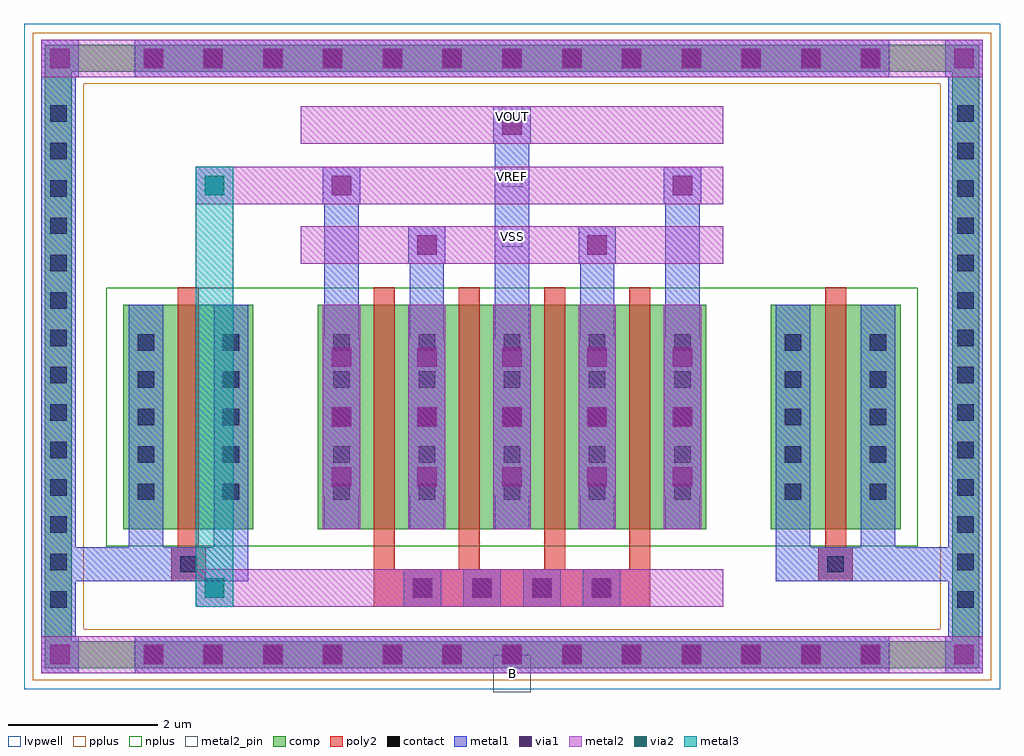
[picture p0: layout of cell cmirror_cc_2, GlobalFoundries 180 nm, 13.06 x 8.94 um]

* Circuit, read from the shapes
.subckt cmirror_cc_2 B VOUT VREF VSS
XM1 B B B B nfet_03v3 w=3u l=0.28u m=2
XM2 VSS VREF VREF B nfet_03v3 w=3u l=0.28u m=2
XM3 VOUT VREF VSS B nfet_03v3 w=3u l=0.28u m=2
.ends

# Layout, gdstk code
import gdstk
lib = gdstk.Library(unit=1e-6, precision=5e-09)
def R(c, l, rs):  # rectangles x0, y0, x1, y1
    for r in rs: c.add(gdstk.rectangle(r[:2], r[2:], *l))
def A(c, l, x, y, w, h, nx, ny, dx, dy):  # array of equal rectangles
    R(c, l, [(x+i*dx, y+j*dy, x+i*dx+w, y+j*dy+h) for i in range(nx) for j in range(ny)])
def P(c, l, *ps):  # polygons
    for p in ps: c.add(gdstk.Polygon(p, *l))
comp = (22, 0)
poly2 = (30, 0)
pplus = (31, 0)
nplus = (32, 0)
contact = (33, 0)
metal1 = (34, 0)
via1 = (35, 0)
metal2 = (36, 0)
metal2_pin = (36, 10)
via2 = (38, 0)
metal3 = (42, 0)
lvpwell = (204, 0)

cmirror_cc_2 = lib.new_cell('cmirror_cc_2')
A(cmirror_cc_2, comp, -4.98, -4.17, 0.36, 0.36, 13, 2, 0.8, 7.98)
A(cmirror_cc_2, comp, -6.25, -3.43, 0.36, 0.36, 1, 14, 0, 0.5)
A(cmirror_cc_2, comp, 5.89, -3.43, 0.36, 0.36, 1, 14, 0, 0.5)
R(cmirror_cc_2, comp, [(-4.98,-4.17,4.98,-3.81), (-6.25,-3.43,-5.89,3.43), (5.89,-3.43,6.25,3.43), (-5.2,-2.31,-3.46,0.69), (-2.6,-2.31,2.6,0.69), (3.46,-2.31,5.2,0.69), (-4.98,3.81,4.98,4.17)])
P(cmirror_cc_2, comp, [(6.25,4.17),(-6.25,4.17),(-6.25,-3.81),(-5.89,-3.81),(-5.89,3.81),(5.89,3.81),(5.89,-3.81),(-5.89,-3.81),(-6.25,-3.81),(-6.25,-4.17),(6.25,-4.17)])
A(cmirror_cc_2, poly2, -1.38, -3.28, 0.36, 0.36, 4, 1, 0.8, 0)
A(cmirror_cc_2, poly2, -1.85, -2.85, 0.28, 0.3, 4, 1, 1.14, 0)
A(cmirror_cc_2, poly2, -1.85, -2.55, 0.28, 3.48, 4, 1, 1.14, 0)
R(cmirror_cc_2, poly2, [(-1.85,-3.35,1.85,-2.85), (-4.56,-3.01,-4.1,-2.55), (4.1,-3.01,4.56,-2.55), (-4.51,-2.96,-4.15,-2.6), (4.15,-2.96,4.51,-2.6), (-4.47,-2.55,-4.19,0.93), (4.19,-2.55,4.47,0.93)])
P(cmirror_cc_2, pplus, [(6.41,4.33),(-6.41,4.33),(-6.41,-3.65),(-5.73,-3.65),(-5.73,3.65),(5.73,3.65),(5.73,-3.65),(-5.73,-3.65),(-6.41,-3.65),(-6.41,-4.33),(6.41,-4.33)])
R(cmirror_cc_2, nplus, [(-5.43,-2.54,-3.23,0.92), (-5.43,-2.54,5.43,0.92), (-2.83,-2.54,2.83,0.92), (3.23,-2.54,5.43,0.92)])
A(cmirror_cc_2, contact, -4.91, -4.1, 0.22, 0.22, 13, 2, 0.8, 7.98)
A(cmirror_cc_2, contact, -6.18, -3.36, 0.22, 0.22, 1, 14, 0, 0.5)
A(cmirror_cc_2, contact, 5.96, -3.36, 0.22, 0.22, 1, 14, 0, 0.5)
A(cmirror_cc_2, contact, -1.31, -3.21, 0.22, 0.22, 4, 1, 0.8, 0)
A(cmirror_cc_2, contact, -5.01, -1.92, 0.22, 0.22, 1, 5, 0, 0.5)
A(cmirror_cc_2, contact, -3.87, -1.92, 0.22, 0.22, 1, 5, 0, 0.5)
A(cmirror_cc_2, contact, -2.39, -1.92, 0.22, 0.22, 5, 5, 1.14, 0.5)
A(cmirror_cc_2, contact, 3.65, -1.92, 0.22, 0.22, 1, 5, 0, 0.5)
A(cmirror_cc_2, contact, 4.79, -1.92, 0.22, 0.22, 1, 5, 0, 0.5)
R(cmirror_cc_2, contact, [(-4.44,-2.89,-4.22,-2.67), (4.22,-2.89,4.44,-2.67)])
A(cmirror_cc_2, metal1, -5.05, -4.24, 0.5, 0.5, 13, 2, 0.8, 7.98)
A(cmirror_cc_2, metal1, -6.3, -3.48, 0.46, 0.46, 1, 14, 0, 0.5)
A(cmirror_cc_2, metal1, 5.84, -3.48, 0.46, 0.46, 1, 14, 0, 0.5)
A(cmirror_cc_2, metal1, -1.45, -3.35, 0.5, 0.5, 4, 1, 0.8, 0)
A(cmirror_cc_2, metal1, -2.51, -2.31, 0.46, 3, 5, 1, 1.14, 0)
A(cmirror_cc_2, metal1, -5.13, -2.04, 0.46, 0.46, 1, 5, 0, 0.5)
A(cmirror_cc_2, metal1, -3.99, -2.04, 0.46, 0.46, 1, 5, 0, 0.5)
A(cmirror_cc_2, metal1, -2.51, -2.04, 0.46, 0.46, 5, 5, 1.14, 0.5)
A(cmirror_cc_2, metal1, 3.53, -2.04, 0.46, 0.46, 1, 5, 0, 0.5)
A(cmirror_cc_2, metal1, 4.67, -2.04, 0.46, 0.46, 1, 5, 0, 0.5)
A(cmirror_cc_2, metal1, -2.53, -1.86, 0.5, 0.5, 5, 3, 1.14, 0.8)
A(cmirror_cc_2, metal1, -2.53, -1.86, 0.5, 2.1, 5, 1, 1.14, 0)
R(cmirror_cc_2, metal1, [(-6.3,-4.24,-5.8,-3.74), (-6.3,-4.24,-5.8,-3.74), (-6.3,-4.24,-5.84,-3.81), (-5.05,-4.24,5.05,-3.74), (5.8,-4.24,6.3,-3.74), (5.8,-4.24,6.3,-3.74), (5.84,-4.24,6.3,-3.81), (-6.3,-3.81,-5.84,3.81), (5.84,-3.81,6.3,3.81), (-6.3,-3.01,-4.56,-2.55), (-5.13,-3.01,-4.56,-2.55), (-5.13,-3.01,-4.67,-2.31), (-4.56,-3.01,-4.1,-2.55), (-4.1,-3.01,-3.53,-2.55), (-3.99,-3.01,-3.53,-2.31), (3.53,-3.01,4.1,-2.55), (3.53,-3.01,3.99,-2.31), (4.1,-3.01,4.56,-2.55), (4.56,-3.01,5.13,-2.55), (4.56,-3.01,6.3,-2.55), (4.67,-3.01,5.13,-2.31), (-5.13,-2.31,-4.67,0.69), (-3.99,-2.31,-3.53,0.69), (3.53,-2.31,3.99,0.69), (4.67,-2.31,5.13,0.69), (-2.51,0.69,-2.05,2.54), (-1.37,0.69,-0.91,1.74), (-0.23,0.69,0.23,3.35), (0.91,0.69,1.37,1.74), (2.05,0.69,2.51,2.54), (-1.39,1.24,-0.89,1.74), (0.89,1.24,1.39,1.74), (-2.53,2.04,-2.03,2.54), (2.03,2.04,2.53,2.54), (-0.25,2.85,0.25,3.35), (-6.3,3.74,-5.8,4.24), (-6.3,3.74,-5.8,4.24), (-5.05,3.74,5.05,4.24), (5.8,3.74,6.3,4.24), (5.8,3.74,6.3,4.24), (-6.3,3.81,-5.84,4.24), (5.84,3.81,6.3,4.24)])
A(cmirror_cc_2, via1, -4.93, -4.12, 0.26, 0.26, 13, 2, 0.8, 7.98)
A(cmirror_cc_2, via1, -1.33, -3.23, 0.26, 0.26, 4, 1, 0.8, 0)
A(cmirror_cc_2, via1, -2.41, -1.74, 0.26, 0.26, 5, 3, 1.14, 0.8)
R(cmirror_cc_2, via1, [(-6.18,-4.12,-5.92,-3.86), (5.92,-4.12,6.18,-3.86), (-1.27,1.36,-1.01,1.62), (1.01,1.36,1.27,1.62), (-2.41,2.16,-2.15,2.42), (2.15,2.16,2.41,2.42), (-0.13,2.97,0.13,3.23), (-6.18,3.86,-5.92,4.12), (5.92,3.86,6.18,4.12)])
A(cmirror_cc_2, metal2, -5.05, -4.24, 0.5, 0.5, 13, 2, 0.8, 7.98)
A(cmirror_cc_2, metal2, -1.45, -3.35, 0.5, 0.5, 4, 1, 0.8, 0)
A(cmirror_cc_2, metal2, -2.53, -2.31, 0.5, 3, 5, 1, 1.14, 0)
A(cmirror_cc_2, metal2, -2.53, -1.86, 0.5, 0.5, 5, 3, 1.14, 0.8)
R(cmirror_cc_2, metal2, [(-6.3,-4.24,-5.8,-3.74), (-6.3,-4.24,-5.8,-3.74), (-6.3,-4.24,-5.89,-3.74), (-5.89,-4.24,5.89,-3.74), (5.8,-4.24,6.3,-3.74), (5.8,-4.24,6.3,-3.74), (5.89,-4.24,6.3,-3.74), (-4.23,-3.35,-3.73,-2.85), (-4.23,-3.35,-2.83,-2.85), (-2.83,-3.35,2.83,-2.85), (-1.85,-3.35,1.85,-2.85), (-2.83,1.24,2.83,1.74), (-1.39,1.24,-0.89,1.74), (0.89,1.24,1.39,1.74), (-4.23,2.04,-3.73,2.54), (-4.23,2.04,-2.83,2.54), (-2.83,2.04,2.83,2.54), (-2.53,2.04,-2.03,2.54), (2.03,2.04,2.53,2.54), (-2.83,2.85,2.83,3.35), (-0.25,2.85,0.25,3.35), (-6.3,3.74,-5.8,4.24), (-6.3,3.74,-5.8,4.24), (-6.3,3.74,-5.89,4.24), (-5.89,3.74,5.89,4.24), (5.8,3.74,6.3,4.24), (5.8,3.74,6.3,4.24), (5.89,3.74,6.3,4.24)])
R(cmirror_cc_2, metal2_pin, [(-0.25,-4.49,0.25,-3.99), (-0.135,1.47,0.135,1.74), (-0.135,2.27,0.135,2.54), (-0.135,3.08,0.135,3.35)])
R(cmirror_cc_2, via2, [(-4.11,-3.23,-3.85,-2.97), (-4.11,2.16,-3.85,2.42)])
R(cmirror_cc_2, metal3, [(-4.23,-3.35,-3.73,-2.85), (-4.23,-3.35,-3.73,-2.85), (-4.23,-3.35,-3.73,2.54), (-4.23,2.04,-3.73,2.54), (-4.23,2.04,-3.73,2.54)])
P(cmirror_cc_2, metal3, [(-3.73,-3.35),(-3.73,-3.35),(-3.73,-2.85),(-3.73,-2.85)],
  [(-3.73,2.04),(-3.73,2.04),(-3.73,2.54),(-3.73,2.54)])
R(cmirror_cc_2, lvpwell, [(-6.53,-4.45,6.53,4.45)])
cmirror_cc_2.add(gdstk.Label('B', (0,-4.24), layer=36, texttype=10))
cmirror_cc_2.add(gdstk.Label('VSS', (0,1.605), layer=36, texttype=10))
cmirror_cc_2.add(gdstk.Label('VOUT', (0,3.215), layer=36, texttype=10))
cmirror_cc_2.add(gdstk.Label('VREF', (0,2.405), layer=36, texttype=10))

lib.write_gds('cmirror_cc_2.gds')
